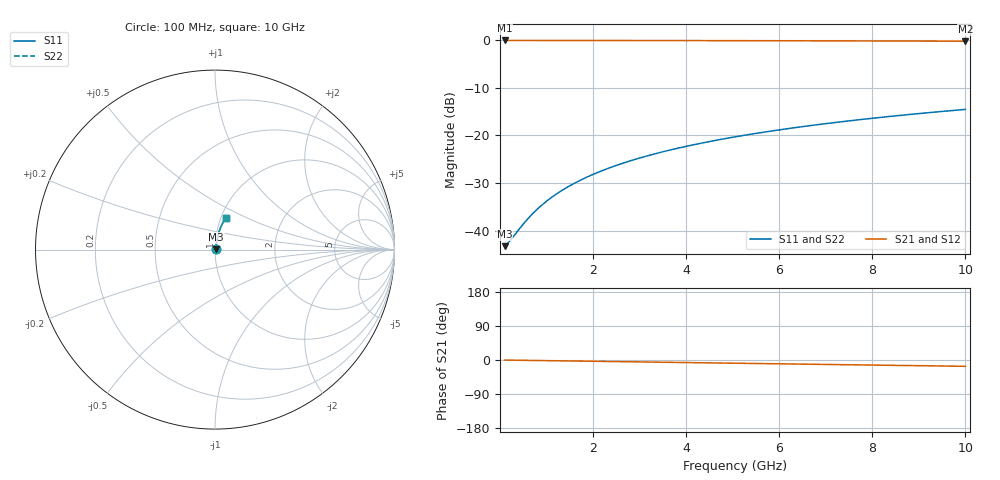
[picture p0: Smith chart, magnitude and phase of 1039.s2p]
# Hz S RI R 50.00
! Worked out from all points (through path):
!   100 points, 100 MHz to 10 GHz, reference 50 ohm
!   highest |S21| = -0.06 dB at 100 MHz (marker M1); lowest = -0.2 dB at 10 GHz (marker M2)
!   group delay of S21, straight-line fit = 4.63 ps
!   lowest |S11| = -43.3 dB at 100 MHz (marker M3), VSWR 1.01, Z = 50.7 + j0.192 ohm
!   |S11| at or under -10 dB: start of sweep to end of sweep
!   |S22| runs from -43.3 to -14.5 dB; largest |S21 - S12| = 0
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1e8  0.00659 0.0019  0.9934 -0.00292  0.9934 -0.00292  0.00659 0.0019
2e8  0.00665 0.0038  0.9933 -0.00583  0.9933 -0.00583  0.00665 0.0038
5e8  0.00685 0.00949  0.9931 -0.0146  0.9931 -0.0146  0.00685 0.00949
6e8  0.00693 0.0114  0.993 -0.0175  0.993 -0.0175  0.00693 0.0114
7e8  0.00702 0.0133  0.9929 -0.0204  0.9929 -0.0204  0.00702 0.0133
9e8  0.00723 0.0171  0.9927 -0.0262  0.9927 -0.0262  0.00723 0.0171
1.1e9  0.00747 0.0209  0.9925 -0.032  0.9925 -0.032  0.00747 0.0209
1.3e9  0.00777 0.0246  0.9921 -0.0379  0.9921 -0.0379  0.00777 0.0246
1.5e9  0.0081 0.0284  0.9918 -0.0437  0.9918 -0.0437  0.0081 0.0284
1.8e9  0.00868 0.0341  0.9911 -0.0524  0.9911 -0.0524  0.00868 0.0341
2.1e9  0.00935 0.0397  0.9904 -0.0611  0.9904 -0.0611  0.00935 0.0397
2.5e9  0.0104 0.0472  0.9892 -0.0727  0.9892 -0.0727  0.0104 0.0472
2.9e9  0.0116 0.0547  0.9879 -0.0842  0.9879 -0.0842  0.0116 0.0547
3.4e9  0.0134 0.064  0.986 -0.0986  0.986 -0.0986  0.0134 0.064
3.8e9  0.015 0.0714  0.9842 -0.1101  0.9842 -0.1101  0.015 0.0714
4.2e9  0.0168 0.0787  0.9823 -0.1215  0.9823 -0.1215  0.0168 0.0787
5.1e9  0.0214 0.095  0.9772 -0.147  0.9772 -0.147  0.0214 0.095
5.9e9  0.0262 0.1093  0.9719 -0.1695  0.9719 -0.1695  0.0262 0.1093
6.7e9  0.0317 0.1233  0.9659 -0.1916  0.9659 -0.1916  0.0317 0.1233
7.5e9  0.0377 0.1369  0.9592 -0.2135  0.9592 -0.2135  0.0377 0.1369
8.4e9  0.0453 0.1519  0.9509 -0.2377  0.9509 -0.2377  0.0453 0.1519
1e10  0.0605 0.1774  0.9341 -0.2796  0.9341 -0.2796  0.0605 0.1774
